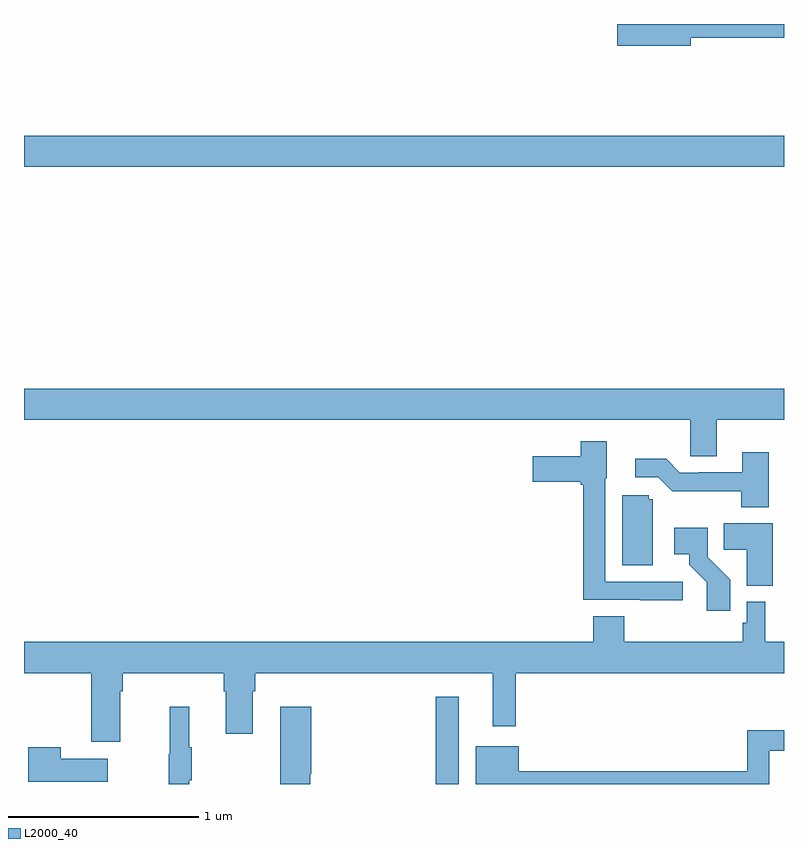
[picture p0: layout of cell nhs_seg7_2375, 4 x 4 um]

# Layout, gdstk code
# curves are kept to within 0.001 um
import gdstk
lib = gdstk.Library(unit=1e-6, precision=1e-09)
def R(c, l, rs):  # rectangles x0, y0, x1, y1
    for r in rs: c.add(gdstk.rectangle(r[:2], r[2:], *l))
def P(c, l, *ps):  # polygons
    for p in ps: c.add(gdstk.Polygon(p, *l))
L2000_40 = (2000, 40)

nhs_seg7_2375 = lib.new_cell('nhs_seg7_2375')
R(nhs_seg7_2375, L2000_40, [(267.168,1032,267.289,1032.46), (265,1035.248,269,1035.412)])
P(nhs_seg7_2375, L2000_40, [(268.51,1035.928),(269,1035.928),(269,1036),(268.122,1036),(268.122,1035.886),(268.51,1035.886)],
  [(268.645,1033.916),(269,1033.916),(269,1034.08),(265,1034.08),(265,1033.916),(268.506,1033.916),(268.506,1033.726),(268.645,1033.726)],
  [(268.468,1033.065),(268.059,1033.065),(268.059,1033.608),(268.066,1033.608),(268.066,1033.804),(267.93,1033.804),(267.93,1033.726),(267.678,1033.726),(267.678,1033.592),(267.93,1033.592),(267.93,1033.574),(267.943,1033.574),(267.943,1032.969),(268.243,1032.969),(268.243,1032.967),(268.468,1032.967)],
  [(268.921,1033.747),(268.781,1033.747),(268.781,1033.641),(268.552,1033.641),(268.552,1033.638),(268.452,1033.638),(268.379,1033.711),(268.218,1033.711),(268.218,1033.614),(268.338,1033.614),(268.411,1033.541),(268.774,1033.542),(268.774,1033.457),(268.921,1033.457)],
  [(268.309,1033.5),(268.287,1033.5),(268.287,1033.521),(268.148,1033.521),(268.148,1033.152),(268.309,1033.152)],
  [(268.942,1033.372),(268.684,1033.372),(268.684,1033.234),(268.805,1033.234),(268.805,1033.043),(268.942,1033.043)],
  [(268.718,1033.074),(268.599,1033.193),(268.599,1033.348),(268.422,1033.348),(268.422,1033.208),(268.502,1033.208),(268.502,1033.153),(268.593,1033.063),(268.593,1032.912),(268.718,1032.912)],
  [(268.803,1032.958),(268.803,1032.849),(268.783,1032.849),(268.783,1032.748),(268.16,1032.748),(268.16,1032.884),(267.995,1032.884),(267.995,1032.748),(265,1032.748),(265,1032.584),(265.355,1032.584),(265.355,1032.222),(265.507,1032.222),(265.507,1032.488),(265.52,1032.488),(265.52,1032.584),(266.051,1032.584),(266.051,1032.488),(266.063,1032.488),(266.063,1032.264),(266.203,1032.264),(266.203,1032.488),(266.216,1032.488),(266.216,1032.584),(267.467,1032.584),(267.467,1032.303),(267.589,1032.303),(267.589,1032.584),(269,1032.584),(269,1032.748),(268.9,1032.748),(268.9,1032.958)],
  [(265.871,1032.019),(265.882,1032.019),(265.882,1032.193),(265.871,1032.193),(265.871,1032.406),(265.768,1032.406),(265.768,1032.156),(265.761,1032.156),(265.761,1032),(265.871,1032)],
  [(266.507,1032.054),(266.512,1032.054),(266.512,1032.406),(266.348,1032.406),(266.348,1032),(266.507,1032)],
  [(268.923,1032.174),(269,1032.174),(269,1032.283),(268.807,1032.283),(268.807,1032.068),(267.604,1032.068),(267.604,1032.199),(267.377,1032.199),(267.377,1032),(268.923,1032)],
  [(265.441,1032.133),(265.193,1032.133),(265.193,1032.193),(265.022,1032.193),(265.022,1032.011),(265.441,1032.011)])

lib.write_gds('nhs_seg7_2375.gds')
